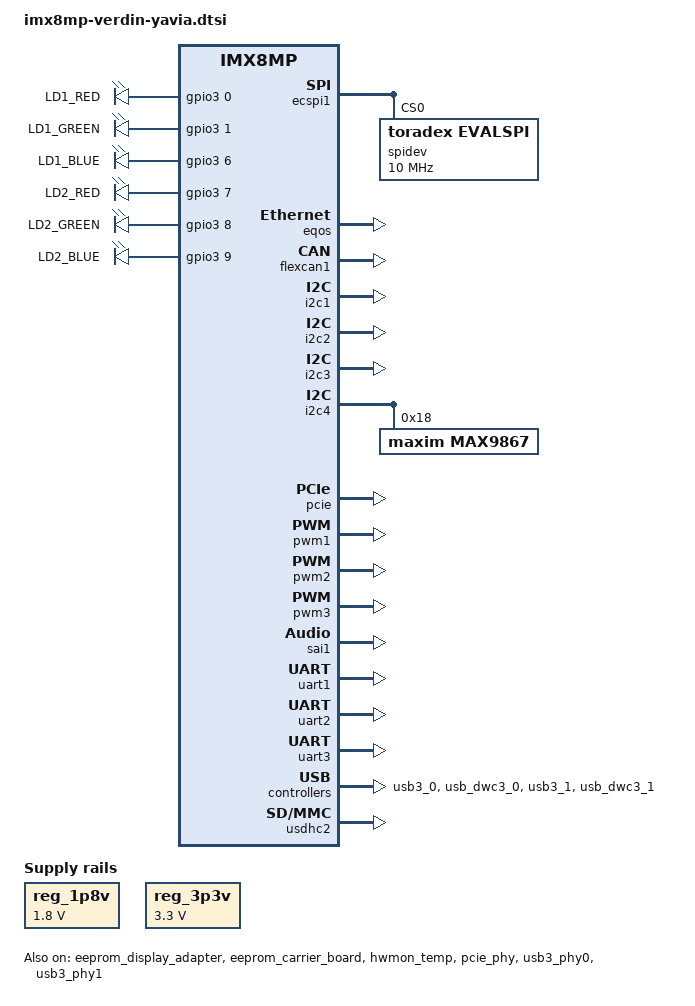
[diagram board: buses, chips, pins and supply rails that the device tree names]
// SPDX-License-Identifier: GPL-2.0+ OR MIT
/*
 * Copyright 2022 Toradex
 */

/ {
	/* Carrier Board Supply +V1.8 */
	reg_1p8v: regulator-1p8v {
		compatible = "regulator-fixed";
		regulator-max-microvolt = <1800000>;
		regulator-min-microvolt = <1800000>;
		regulator-name = "+V1.8_SW";
	};

	/* Carrier Board Supply +V3.3 */
	reg_3p3v: regulator-3p3v {
		compatible = "regulator-fixed";
		regulator-max-microvolt = <3300000>;
		regulator-min-microvolt = <3300000>;
		regulator-name = "+V3.3_SW";
	};

	leds {
		compatible = "gpio-leds";

		pinctrl-names = "default";
		pinctrl-0 = <&pinctrl_leds_yavia>;

		/* SODIMM 52 */
		led1-red {
			label = "LD1_RED";
			gpios = <&gpio3 0 GPIO_ACTIVE_HIGH>;
		};
		/* SODIMM 54 */
		led1-green {
			label = "LD1_GREEN";
			gpios = <&gpio3 1 GPIO_ACTIVE_HIGH>;
		};
		/* SODIMM 56 */
		led1-blue {
			label = "LD1_BLUE";
			gpios = <&gpio3 6 GPIO_ACTIVE_HIGH>;
		};
		/* SODIMM 58 */
		led2-red {
			label = "LD2_RED";
			gpios = <&gpio3 7 GPIO_ACTIVE_HIGH>;
		};
		/* SODIMM 60 */
		led2-green {
			label = "LD2_GREEN";
			gpios = <&gpio3 8 GPIO_ACTIVE_HIGH>;
		};
		/* SODIMM 62 */
		led2-blue {
			label = "LD2_BLUE";
			gpios = <&gpio3 9 GPIO_ACTIVE_HIGH>;
		};
	};

	sound_hdmi: sound-hdmi {
		compatible = "fsl,imx-audio-cdnhdmi";
		model = "audio-hdmi";
		audio-cpu = <&aud2htx>;
		hdmi-out;
		constraint-rate = <44100>,
				<88200>,
				<176400>,
				<32000>,
				<48000>,
				<96000>,
				<192000>;
		status = "disabled";
	};


 	sound_card: sound-card {
                compatible = "simple-audio-card";
                simple-audio-card,format = "i2s";
                simple-audio-card,frame-master = <&dailink_master>;
                simple-audio-card,bitclock-master = <&dailink_master>;
                simple-audio-card,name = "max9867";
                status = "okay";
                simple-audio-card,routing =
                    "Left Line", "LOUT",
                    "Right Line", "ROUT";
                simple-audio-card,widgets =
                    "Headphones", "Headphones",
                    "Line", "Left Line",
                    "Line", "Right Line",
                    "Speaker", "Speaker";
                dailink_master: simple-audio-card,cpu {
                        sound-dai = <&sai1>;
                        clocks = <&audio_blk_ctrl IMX8MP_CLK_AUDIO_BLK_CTRL_SAI1_MCLK1>;
                };

                simple-audio-card,codec{
                        sound-dai = <&max9867>;
                };

        };

};

&backlight {
	power-supply = <&reg_3p3v>;
};

/* Verdin SPI_1 */
&ecspi1 {
	status = "okay";

	spidev@0 {
		compatible = "toradex,evalspi";
		reg = <0>;
		spi-max-frequency = <10000000>;
		status = "okay";
	};
};

/* EEPROM on display adapter boards */
&eeprom_display_adapter {
	status = "okay";
};

/* EEPROM on Verdin yavia board */
&eeprom_carrier_board {
	status = "okay";
};

&eqos {
	status = "okay";
};

&flexcan1 {
	status = "okay";
};

&hwmon_temp {
	status = "okay";
};

/* Verdin I2C_2_DSI */
&i2c1 {
	status = "okay";

};

&i2c2 {
	status = "okay";
};

&i2c3 {
	status = "okay";

};

&i2c4 {
	status = "okay";
	max9867: max9867@18 {
		compatible = "maxim,max9867";
        clocks = <&audio_blk_ctrl IMX8MP_CLK_AUDIO_BLK_CTRL_SAI1_MCLK1>;
		#sound-dai-cells = <0>;
		reg = <0x18>;
	};
};

/* Verdin PCIE_1 */
&pcie {
	epdev_on-supply = <&reg_3p3v>;
	status = "okay";
};

&pcie_phy{
	status = "okay";
};

/* Verdin PWM_1 */
&pwm1 {
	status = "okay";
};

/* Verdin PWM_2 */
&pwm2 {
	status = "okay";
};

/* Verdin PWM_3_DSI */
&pwm3 {
	status = "okay";
};

&reg_usdhc2_vmmc {
	vin-supply = <&reg_3p3v>;
};

/* VERDIN I2S_1 */
&sai1 {
	#sound-dai-cells = <0>;
	assigned-clocks = <&clk IMX8MP_CLK_SAI1>;
	assigned-clock-parents = <&clk IMX8MP_AUDIO_PLL1_OUT>;
	assigned-clock-rates = <24576000>;
	clocks = <&audio_blk_ctrl IMX8MP_CLK_AUDIO_BLK_CTRL_SAI1_IPG>, <&clk IMX8MP_CLK_DUMMY>,
		 <&audio_blk_ctrl IMX8MP_CLK_AUDIO_BLK_CTRL_SAI1_MCLK1>, <&clk IMX8MP_CLK_DUMMY>,
		 <&clk IMX8MP_CLK_DUMMY>, <&clk IMX8MP_AUDIO_PLL1_OUT>, <&clk IMX8MP_AUDIO_PLL2_OUT>;
	clock-names = "bus", "mclk0", "mclk1", "mclk2", "mclk3", "pll8k", "pll11k";
	fsl,sai-mclk-direction-output;
	pinctrl-names = "default";
	pinctrl-0 = <&pinctrl_sai1>;
    status = "okay";
};

/* Verdin UART_1 */
&uart1 {
	status = "okay";
};

/* Verdin UART_2 */
&uart2 {
	status = "okay";
};

/* Verdin UART_3, used as the Linux Console */
&uart3 {
	status = "okay";
};

/* Verdin USB_1 */
&usb3_phy0 {
	status = "okay";
};

&usb3_0 {
	status = "okay";
};

&usb_dwc3_0 {
	status = "okay";
};

/* Verdin USB_2 */
&usb3_phy1 {
	status = "okay";
};

&usb3_1 {
	status = "okay";
};

&usb_dwc3_1 {
	disable-over-current;
	status = "okay";
};

/* Verdin SD_1 */
&usdhc2 {
	status = "okay";
};

&iomuxc {
	pinctrl_leds_yavia: ledsyaviagrp {
		fsl,pins = <
			MX8MP_IOMUXC_NAND_ALE__GPIO3_IO00	0x106	/* SODIMM 52 */
			MX8MP_IOMUXC_NAND_CE0_B__GPIO3_IO01	0x106	/* SODIMM 54 */
			MX8MP_IOMUXC_NAND_DATA00__GPIO3_IO06	0x106	/* SODIMM 56 */
			MX8MP_IOMUXC_NAND_DATA01__GPIO3_IO07	0x106	/* SODIMM 58 */
			MX8MP_IOMUXC_NAND_DATA02__GPIO3_IO08	0x106	/* SODIMM 60 */
			MX8MP_IOMUXC_NAND_DATA03__GPIO3_IO09	0x106	/* SODIMM 62 */
		>;
	};

	pinctrl_gpios_ext_yavia: gpiosextyaviagrp {
		fsl,pins = <
			MX8MP_IOMUXC_NAND_CE1_B__GPIO3_IO02	0x106	/* SODIMM 64 */
			MX8MP_IOMUXC_NAND_DQS__GPIO3_IO14	0x106	/* SODIMM 66 */
		>;
	};
};
